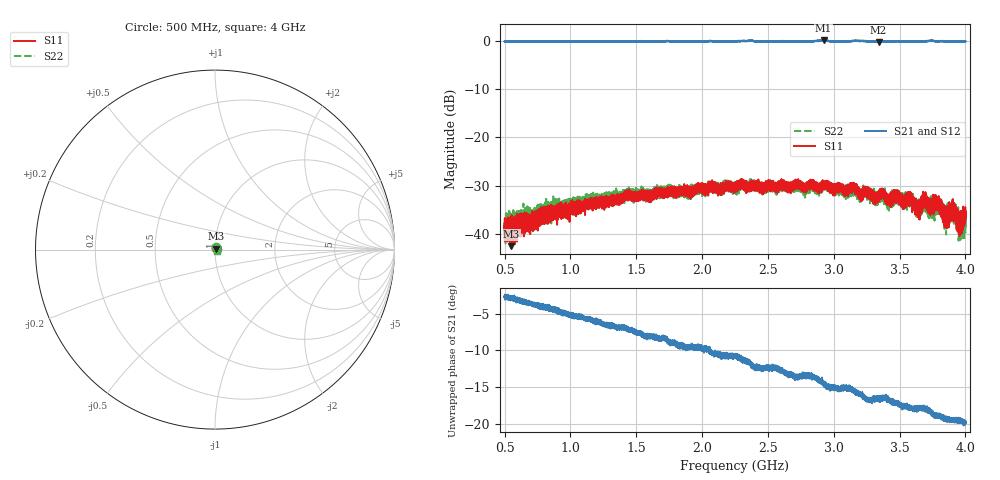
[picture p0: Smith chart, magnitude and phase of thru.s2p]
!Agilent Technologies,E8363C,MY49030273,A.09.42.18
!Agilent E8363C: A.09.42.18
!Date: Tuesday, May 03, 2022 03:58:37
!Correction: S11(Full 2 Port(1,2))
!S21(Full 2 Port(1,2))
!S12(Full 2 Port(1,2))
!S22(Full 2 Port(1,2))
!S2P File: Measurements: S11, S21, S12, S22:
# Hz S  dB  R 50
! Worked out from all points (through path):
!   32001 points, 500 MHz to 4 GHz, reference 50 ohm
!   highest |S21| = 0.11 dB at 2.923 GHz (marker M1); lowest = -0.2 dB at 3.34 GHz (marker M2)
!   group delay of S21, straight-line fit = 13.7 ps
!   lowest |S11| = -42.6 dB at 551 MHz (marker M3), VSWR 1.01, Z = 50.5 + j0.573 ohm
!   |S11| at or under -10 dB: start of sweep to end of sweep
!   |S22| runs from -42.2 to -28.7 dB; largest |S21 - S12| = 0.022
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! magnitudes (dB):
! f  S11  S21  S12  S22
! 500 MHz  -39.6  0.0  0.0  -36.8
! 551 MHz  -42.6  0.0  0.0  -36.6
! 1.083 GHz  -33.8  -0.1  0.0  -33.5
! 1.667 GHz  -31.4  -0.1  0.0  -30.5
! 2.25 GHz  -30.4  -0.1  0.0  -30.5
! 2.833 GHz  -30.1  0.0  0.0  -29.3
! 2.923 GHz  -29.9  0.1  0.0  -29.7
! 3.09 GHz  -30.6  -0.1  0.0  -31.4
! 3.152 GHz  -31.0  0.0  0.0  -31.3
! 3.34 GHz  -31.5  -0.2  0.0  -31.2
! 3.417 GHz  -32.5  0.0  0.0  -32.9
! 3.471 GHz  -32.2  0.0  -0.1  -31.9
! 3.53 GHz  -33.2  -0.1  0.0  -33.8
! 3.576 GHz  -32.5  0.0  0.0  -32.3
! 3.637 GHz  -35.2  -0.1  0.0  -34.2
! 3.686 GHz  -33.3  0.0  0.0  -33.2
! 3.733 GHz  -34.9  0.0  0.0  -34.6
! 3.783 GHz  -34.2  0.0  -0.1  -33.5
! 3.845 GHz  -37.6  0.0  0.0  -36.0
! 3.901 GHz  -33.3  -0.1  -0.1  -35.1
! 3.958 GHz  -37.2  -0.1  0.0  -38.6
! 4 GHz  -35.3  0.0  -0.1  -37.5
